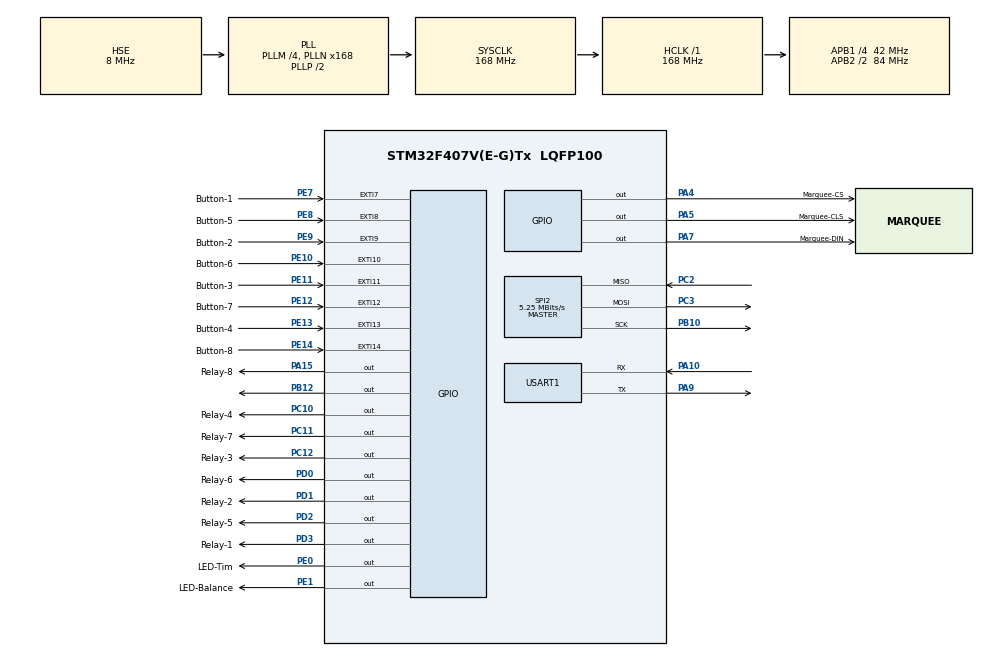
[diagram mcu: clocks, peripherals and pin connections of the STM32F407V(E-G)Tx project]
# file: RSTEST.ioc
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Mcu.Family=STM32F4
Mcu.Name=STM32F407V(E-G)Tx
Mcu.Package=LQFP100
NVIC.EXTI15_10_IRQn=true\:0\:0\:false\:false\:true\:true\:true\:true
NVIC.EXTI9_5_IRQn=true\:0\:0\:false\:false\:true\:true\:true\:true
NVIC.PriorityGroup=NVIC_PRIORITYGROUP_4
NVIC.TIM4_IRQn=true\:0\:0\:false\:false\:true\:true\:true\:true
NVIC.USART1_IRQn=true\:0\:0\:false\:false\:true\:true\:true\:true
PA10.Mode=Multiprocessor_communication
PA10.Signal=USART1_RX
PA15.GPIO_Label=Relay-8
PA15.Signal=GPIO_Output
PA4.GPIO_Label=Marquee-CS
PA4.Signal=GPIO_Output
PA5.GPIO_Label=Marquee-CLS
PA5.Signal=GPIO_Output
PA7.GPIO_Label=Marquee-DIN
PA7.Signal=GPIO_Output
PA9.Mode=Multiprocessor_communication
PA9.Signal=USART1_TX
PB10.Mode=Full_Duplex_Master
PB10.Signal=SPI2_SCK
PB12.Signal=GPIO_Output
PC10.GPIO_Label=Relay-4
PC10.Signal=GPIO_Output
PC11.GPIO_Label=Relay-7
PC11.Signal=GPIO_Output
PC12.GPIO_Label=Relay-3
PC12.Signal=GPIO_Output
PC2.Mode=Full_Duplex_Master
PC2.Signal=SPI2_MISO
PC3.Mode=Full_Duplex_Master
PC3.Signal=SPI2_MOSI
PD0.GPIO_Label=Relay-6
PD0.Signal=GPIO_Output
PD1.GPIO_Label=Relay-2
PD1.Signal=GPIO_Output
PD2.GPIO_Label=Relay-5
PD2.Signal=GPIO_Output
PD3.GPIO_Label=Relay-1
PD3.Signal=GPIO_Output
PE0.GPIO_Label=LED-Tim
PE0.Signal=GPIO_Output
PE1.GPIO_Label=LED-Balance
PE1.Signal=GPIO_Output
PE10.GPIO_Label=Button-6
PE10.GPIO_PuPd=GPIO_PULLUP
PE10.Signal=GPXTI10
PE11.GPIO_Label=Button-3
PE11.GPIO_PuPd=GPIO_PULLUP
PE11.Signal=GPXTI11
PE12.GPIO_Label=Button-7
PE12.GPIO_PuPd=GPIO_PULLUP
PE12.Signal=GPXTI12
PE13.GPIO_Label=Button-4
PE13.GPIO_PuPd=GPIO_PULLUP
PE13.Signal=GPXTI13
PE14.GPIO_Label=Button-8
PE14.GPIO_PuPd=GPIO_PULLUP
PE14.Signal=GPXTI14
PE7.GPIO_Label=Button-1
PE7.GPIO_PuPd=GPIO_PULLUP
PE7.Signal=GPXTI7
PE8.GPIO_Label=Button-5
PE8.GPIO_PuPd=GPIO_PULLUP
PE8.Signal=GPXTI8
PE9.GPIO_Label=Button-2
PE9.GPIO_PuPd=GPIO_PULLUP
PE9.Signal=GPXTI9
PH0-OSC_IN.Mode=HSE-External-Oscillator
PH0-OSC_IN.Signal=RCC_OSC_IN
PH1-OSC_OUT.Mode=HSE-External-Oscillator
PH1-OSC_OUT.Signal=RCC_OSC_OUT
ProjectManager.HeapSize=0x200
ProjectManager.StackSize=0x400
ProjectManager.TargetToolchain=STM32CubeIDE
RCC.48MHZClocksFreq_Value=48000000
RCC.AHBFreq_Value=168000000
RCC.APB1CLKDivider=RCC_HCLK_DIV4
RCC.APB1Freq_Value=42000000
RCC.APB1TimFreq_Value=84000000
RCC.APB2CLKDivider=RCC_HCLK_DIV2
RCC.APB2Freq_Value=84000000
RCC.APB2TimFreq_Value=168000000
RCC.CortexFreq_Value=168000000
RCC.HCLKFreq_Value=168000000
RCC.HSE_VALUE=8000000
RCC.HSI_VALUE=16000000
RCC.LSE_VALUE=32768
RCC.PLLM=4
RCC.PLLN=168
RCC.PLLQ=7
RCC.PLLSourceVirtual=RCC_PLLSOURCE_HSE
RCC.SYSCLKFreq_VALUE=168000000
RCC.SYSCLKSource=RCC_SYSCLKSOURCE_PLLCLK
RCC.VCOOutputFreq_Value=336000000
SPI2.BaudRatePrescaler=SPI_BAUDRATEPRESCALER_8
SPI2.CalculateBaudRate=5.25 MBits/s
SPI2.Direction=SPI_DIRECTION_2LINES
SPI2.Mode=SPI_MODE_MASTER
SPI2.VirtualType=VM_MASTER
TIM4.ClockDivision=TIM_CLOCKDIVISION_DIV1
USART1.VirtualMode=VM_ASYNC
VP_TIM4_VS_ClockSourceINT.Mode=Internal
board=custom

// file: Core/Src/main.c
/* USER CODE BEGIN Header */
/**
  ******************************************************************************
  * @file           : main.c
  * @brief          : Main program body
  ******************************************************************************
  * @attention
  *
  * Copyright (c) 2022 STMicroelectronics.
  * All rights reserved.
  *
  * This software is licensed under terms that can be found in the LICENSE file
  * in the root directory of this software component.
  * If no LICENSE file comes with this software, it is provided AS-IS.
  *
  ******************************************************************************
  */
/* USER CODE END Header */
#include "main.h"

/* USER CODE BEGIN Includes */

#include "max_matrix_stm32.h"
#include "rc522.h"
#include <stdio.h>
#include <string.h>

#define DEVICE_ID "STM32"
#define UART_BUFFER_SIZE 1
#define UART_MESSAGE_SIZE 17

/* USER CODE END Includes */

SPI_HandleTypeDef hspi2;

TIM_HandleTypeDef htim4;

UART_HandleTypeDef huart1;

/* USER CODE BEGIN PV */

uint8_t UART1_rxBuffer[UART_BUFFER_SIZE] = {0};
uint8_t UART1_rxMessageBuffer[UART_MESSAGE_SIZE] = {0};
uint16_t userBalance = 0;
uint16_t userTime = 0;
uint8_t cardPassed = 0;
uint8_t relayStates = 0;
uint8_t lastPressedButton = 0;
uint8_t pressCount = 0;
uint8_t status;
uint8_t sn[4] = {0, 0, 0, 0};
uint8_t	str[MFRC522_MAX_LEN];

/* USER CODE END PV */

void SystemClock_Config(void);
static void MX_GPIO_Init(void);
static void MX_USART1_UART_Init(void);
static void MX_TIM4_Init(void);
static void MX_SPI2_Init(void);
/* USER CODE BEGIN PFP */

void ProcessUARTCommand(char * command);
char * GetSTMuID(void);
void TurnRelayEnabled(uint8_t relayNumber);
void TurnRelayDisabled(uint8_t relayNumber);
void InteractWithRC522(void);

/* USER CODE END PFP */

int main(void)
{

  /* MCU Configuration--------------------------------------------------------*/

  /* Reset of all peripherals, Initializes the Flash interface and the Systick. */
  HAL_Init();

  /* Configure the system clock */
  SystemClock_Config();

  /* Initialize all configured peripherals */
  MX_GPIO_Init();
  MX_USART1_UART_Init();
  MX_TIM4_Init();
  MX_SPI2_Init();
  /* USER CODE BEGIN 2 */

  char SERIAL_MESSAGE[] = "RDY00000000000000";
  char MATRIX_MESSAGE[40] = " 0:00 ";

  HAL_GPIO_WritePin(GPIOE, GPIO_PIN_0, GPIO_PIN_SET);

  HAL_UART_Transmit(&huart1, (uint8_t*)SERIAL_MESSAGE, strlen(SERIAL_MESSAGE), 1000);
  HAL_UART_Receive_IT (&huart1, UART1_rxBuffer, UART_BUFFER_SIZE);

  MFRC522_Init();
  max_init(0x1);

  // Initialize Relays
  HAL_GPIO_WritePin(GPIOD, GPIO_PIN_0|GPIO_PIN_1|GPIO_PIN_2|GPIO_PIN_3, GPIO_PIN_SET);
  HAL_GPIO_WritePin(GPIOC, GPIO_PIN_10|GPIO_PIN_11|GPIO_PIN_12, GPIO_PIN_SET);
  HAL_GPIO_WritePin(GPIOA, GPIO_PIN_15, GPIO_PIN_SET);

  /* USER CODE END 2 */

  /* Infinite loop */
  /* USER CODE BEGIN WHILE */

  uint8_t even = 0;

  while (1)
  {

	  InteractWithRC522();

	  if(sn[0] == 0 && sn[1] == 0 && sn[2] == 0 && sn[3] == 0)
		  cardPassed = 0;
	  else
		  cardPassed = 1;

	  HAL_Delay(2 * 1000);
      HAL_GPIO_TogglePin(GPIOE, GPIO_PIN_0|GPIO_PIN_1);
      if(cardPassed) {
    	  if(even++ % 2 == 0)
    		  snprintf(MATRIX_MESSAGE, sizeof(MATRIX_MESSAGE), " %d:%02d ", userTime / 60, userTime % 60);
		  else
			  snprintf(MATRIX_MESSAGE, sizeof(MATRIX_MESSAGE), " %02d P ", userBalance); //userBalance

//    	  scroll_string((uint8_t*)MATRIX_MESSAGE, 100, left);
      } else {
    	  strcpy(MATRIX_MESSAGE, "BCTABbTE KAPTY      WELCOME!        ");
      }

      scroll_string((uint8_t*)MATRIX_MESSAGE, 25, left);
      lastPressedButton = 0;
      pressCount = 0;

    /* USER CODE END WHILE */

  }
}

void SystemClock_Config(void)
{
  RCC_OscInitTypeDef RCC_OscInitStruct = {0};
  RCC_ClkInitTypeDef RCC_ClkInitStruct = {0};

  /** Configure the main internal regulator output voltage
  */
  __HAL_RCC_PWR_CLK_ENABLE();
  __HAL_PWR_VOLTAGESCALING_CONFIG(PWR_REGULATOR_VOLTAGE_SCALE1);

  /** Initializes the RCC Oscillators according to the specified parameters
  * in the RCC_OscInitTypeDef structure.
  */
  RCC_OscInitStruct.OscillatorType = RCC_OSCILLATORTYPE_HSE;
  RCC_OscInitStruct.HSEState = RCC_HSE_ON;
  RCC_OscInitStruct.PLL.PLLState = RCC_PLL_ON;
  RCC_OscInitStruct.PLL.PLLSource = RCC_PLLSOURCE_HSE;
  RCC_OscInitStruct.PLL.PLLM = 4;
  RCC_OscInitStruct.PLL.PLLN = 168;
  RCC_OscInitStruct.PLL.PLLP = RCC_PLLP_DIV2;
  RCC_OscInitStruct.PLL.PLLQ = 7;
  if (HAL_RCC_OscConfig(&RCC_OscInitStruct) != HAL_OK)
  {
    Error_Handler();
  }

  /** Initializes the CPU, AHB and APB buses clocks
  */
  RCC_ClkInitStruct.ClockType = RCC_CLOCKTYPE_HCLK|RCC_CLOCKTYPE_SYSCLK
                              |RCC_CLOCKTYPE_PCLK1|RCC_CLOCKTYPE_PCLK2;
  RCC_ClkInitStruct.SYSCLKSource = RCC_SYSCLKSOURCE_PLLCLK;
  RCC_ClkInitStruct.AHBCLKDivider = RCC_SYSCLK_DIV1;
  RCC_ClkInitStruct.APB1CLKDivider = RCC_HCLK_DIV4;
  RCC_ClkInitStruct.APB2CLKDivider = RCC_HCLK_DIV2;

  if (HAL_RCC_ClockConfig(&RCC_ClkInitStruct, FLASH_LATENCY_5) != HAL_OK)
  {
    Error_Handler();
  }
}

static void MX_SPI2_Init(void)
{

  /* SPI2 parameter configuration*/
  hspi2.Instance = SPI2;
  hspi2.Init.Mode = SPI_MODE_MASTER;
  hspi2.Init.Direction = SPI_DIRECTION_2LINES;
  hspi2.Init.DataSize = SPI_DATASIZE_8BIT;
  hspi2.Init.CLKPolarity = SPI_POLARITY_LOW;
  hspi2.Init.CLKPhase = SPI_PHASE_1EDGE;
  hspi2.Init.NSS = SPI_NSS_SOFT;
  hspi2.Init.BaudRatePrescaler = SPI_BAUDRATEPRESCALER_8;
  hspi2.Init.FirstBit = SPI_FIRSTBIT_MSB;
  hspi2.Init.TIMode = SPI_TIMODE_DISABLE;
  hspi2.Init.CRCCalculation = SPI_CRCCALCULATION_DISABLE;
  hspi2.Init.CRCPolynomial = 10;
  if (HAL_SPI_Init(&hspi2) != HAL_OK)
  {
    Error_Handler();
  }

}

static void MX_TIM4_Init(void)
{

  TIM_ClockConfigTypeDef sClockSourceConfig = {0};
  TIM_MasterConfigTypeDef sMasterConfig = {0};

  htim4.Instance = TIM4;
  htim4.Init.Prescaler = 0;
  htim4.Init.CounterMode = TIM_COUNTERMODE_UP;
  htim4.Init.Period = 65535;
  htim4.Init.ClockDivision = TIM_CLOCKDIVISION_DIV1;
  htim4.Init.AutoReloadPreload = TIM_AUTORELOAD_PRELOAD_DISABLE;
  if (HAL_TIM_Base_Init(&htim4) != HAL_OK)
  {
    Error_Handler();
  }
  sClockSourceConfig.ClockSource = TIM_CLOCKSOURCE_INTERNAL;
  if (HAL_TIM_ConfigClockSource(&htim4, &sClockSourceConfig) != HAL_OK)
  {
    Error_Handler();
  }
  sMasterConfig.MasterOutputTrigger = TIM_TRGO_RESET;
  sMasterConfig.MasterSlaveMode = TIM_MASTERSLAVEMODE_DISABLE;
  if (HAL_TIMEx_MasterConfigSynchronization(&htim4, &sMasterConfig) != HAL_OK)
  {
    Error_Handler();
  }

}

static void MX_USART1_UART_Init(void)
{

  huart1.Instance = USART1;
  huart1.Init.BaudRate = 115200;
  huart1.Init.WordLength = UART_WORDLENGTH_8B;
  huart1.Init.StopBits = UART_STOPBITS_1;
  huart1.Init.Parity = UART_PARITY_NONE;
  huart1.Init.Mode = UART_MODE_TX_RX;
  huart1.Init.HwFlowCtl = UART_HWCONTROL_NONE;
  huart1.Init.OverSampling = UART_OVERSAMPLING_16;
  if (HAL_MultiProcessor_Init(&huart1, 0, UART_WAKEUPMETHOD_IDLELINE) != HAL_OK)
  {
    Error_Handler();
  }

}

static void MX_GPIO_Init(void)
{
  GPIO_InitTypeDef GPIO_InitStruct = {0};

  /* GPIO Ports Clock Enable */
  __HAL_RCC_GPIOH_CLK_ENABLE();
  __HAL_RCC_GPIOC_CLK_ENABLE();
  __HAL_RCC_GPIOA_CLK_ENABLE();
  __HAL_RCC_GPIOE_CLK_ENABLE();
  __HAL_RCC_GPIOB_CLK_ENABLE();
  __HAL_RCC_GPIOD_CLK_ENABLE();

  /*Configure GPIO pin Output Level */
  HAL_GPIO_WritePin(GPIOA, Marquee_CS_Pin|Marquee_CLS_Pin|Marquee_DIN_Pin|Relay_8_Pin, GPIO_PIN_RESET);

  /*Configure GPIO pin Output Level */
  HAL_GPIO_WritePin(GPIOB, GPIO_PIN_12, GPIO_PIN_RESET);

  /*Configure GPIO pin Output Level */
  HAL_GPIO_WritePin(GPIOC, Relay_4_Pin|Relay_7_Pin|Relay_3_Pin, GPIO_PIN_RESET);

  /*Configure GPIO pin Output Level */
  HAL_GPIO_WritePin(GPIOD, Relay_6_Pin|Relay_2_Pin|Relay_5_Pin|Relay_1_Pin, GPIO_PIN_RESET);

  /*Configure GPIO pin Output Level */
  HAL_GPIO_WritePin(GPIOE, LED_Tim_Pin|LED_Balance_Pin, GPIO_PIN_RESET);

  /*Configure GPIO pins : Marquee_CS_Pin Marquee_CLS_Pin Marquee_DIN_Pin Relay_8_Pin */
  GPIO_InitStruct.Pin = Marquee_CS_Pin|Marquee_CLS_Pin|Marquee_DIN_Pin|Relay_8_Pin;
  GPIO_InitStruct.Mode = GPIO_MODE_OUTPUT_PP;
  GPIO_InitStruct.Pull = GPIO_NOPULL;
  GPIO_InitStruct.Speed = GPIO_SPEED_FREQ_LOW;
  HAL_GPIO_Init(GPIOA, &GPIO_InitStruct);

  /*Configure GPIO pins : Button_1_Pin Button_5_Pin Button_2_Pin Button_6_Pin
                           Button_3_Pin Button_7_Pin Button_4_Pin Button_8_Pin */
  GPIO_InitStruct.Pin = Button_1_Pin|Button_5_Pin|Button_2_Pin|Button_6_Pin
                          |Button_3_Pin|Button_7_Pin|Button_4_Pin|Button_8_Pin;
  GPIO_InitStruct.Mode = GPIO_MODE_IT_RISING;
  GPIO_InitStruct.Pull = GPIO_PULLUP;
  HAL_GPIO_Init(GPIOE, &GPIO_InitStruct);

  /*Configure GPIO pin : PB12 */
  GPIO_InitStruct.Pin = GPIO_PIN_12;
  GPIO_InitStruct.Mode = GPIO_MODE_OUTPUT_PP;
  GPIO_InitStruct.Pull = GPIO_NOPULL;
  GPIO_InitStruct.Speed = GPIO_SPEED_FREQ_LOW;
  HAL_GPIO_Init(GPIOB, &GPIO_InitStruct);

  /*Configure GPIO pins : Relay_4_Pin Relay_7_Pin Relay_3_Pin */
  GPIO_InitStruct.Pin = Relay_4_Pin|Relay_7_Pin|Relay_3_Pin;
  GPIO_InitStruct.Mode = GPIO_MODE_OUTPUT_PP;
  GPIO_InitStruct.Pull = GPIO_NOPULL;
  GPIO_InitStruct.Speed = GPIO_SPEED_FREQ_LOW;
  HAL_GPIO_Init(GPIOC, &GPIO_InitStruct);

  /*Configure GPIO pins : Relay_6_Pin Relay_2_Pin Relay_5_Pin Relay_1_Pin */
  GPIO_InitStruct.Pin = Relay_6_Pin|Relay_2_Pin|Relay_5_Pin|Relay_1_Pin;
  GPIO_InitStruct.Mode = GPIO_MODE_OUTPUT_PP;
  GPIO_InitStruct.Pull = GPIO_NOPULL;
  GPIO_InitStruct.Speed = GPIO_SPEED_FREQ_LOW;
  HAL_GPIO_Init(GPIOD, &GPIO_InitStruct);

  /*Configure GPIO pins : LED_Tim_Pin LED_Balance_Pin */
  GPIO_InitStruct.Pin = LED_Tim_Pin|LED_Balance_Pin;
  GPIO_InitStruct.Mode = GPIO_MODE_OUTPUT_PP;
  GPIO_InitStruct.Pull = GPIO_NOPULL;
  GPIO_InitStruct.Speed = GPIO_SPEED_FREQ_LOW;
  HAL_GPIO_Init(GPIOE, &GPIO_InitStruct);

  /* EXTI interrupt init*/
  HAL_NVIC_SetPriority(EXTI9_5_IRQn, 0, 0);
  HAL_NVIC_EnableIRQ(EXTI9_5_IRQn);

  HAL_NVIC_SetPriority(EXTI15_10_IRQn, 0, 0);
  HAL_NVIC_EnableIRQ(EXTI15_10_IRQn);

}

/* USER CODE BEGIN 4 */

void HAL_UART_RxCpltCallback(UART_HandleTypeDef *huart)
{
	uint8_t DEBUG_MODE = 0;
    if(DEBUG_MODE) HAL_UART_Transmit(&huart1, UART1_rxBuffer, UART_BUFFER_SIZE, 100); //DEBUG LINE DELETE IN PROD

    if(UART1_rxBuffer[0] == 64) { //Service Mode, if sent @ symbol, the buffer will be cleared
    	for (int i=0; i<UART_MESSAGE_SIZE; i++) UART1_rxMessageBuffer[i] = 0;
    	HAL_UART_Receive_IT(&huart1, UART1_rxBuffer, UART_BUFFER_SIZE);
    	return;
    }

    if(strlen(UART1_rxMessageBuffer) == 0) {
    	strcpy(UART1_rxMessageBuffer, UART1_rxBuffer);
    } else {
    	strcat(UART1_rxMessageBuffer, UART1_rxBuffer);
    }

    if(strlen(UART1_rxMessageBuffer) == UART_MESSAGE_SIZE) {
    	if(DEBUG_MODE) 	HAL_UART_Transmit(&huart1, "\r\n", 2, 100); //DEBUG LINE DELETE IN PROD

    	ProcessUARTCommand(UART1_rxMessageBuffer);

		for (int i=0; i<UART_MESSAGE_SIZE; i++) UART1_rxMessageBuffer[i] = 0;
    }

    HAL_UART_Receive_IT(&huart1, UART1_rxBuffer, UART_BUFFER_SIZE);
}

void ProcessUARTCommand(char * command) {
	char * cmd[3] = {0};
	char * arg[14] = {0};
	char response[17] = {0};
	memcpy(cmd, &command[0], 3);
	memcpy(arg, &command[3], 14);
//	HAL_UART_Transmit(&huart1, "Command: ", 9, 100);
//	HAL_UART_Transmit(&huart1, cmd, 10, 100);
//	HAL_UART_Transmit(&huart1, " Length: ", 9, 100);
//	char * len[100];
//	sprintf(len, "%d", strlen(cmd));
//	HAL_UART_Transmit(&huart1, len, strlen(len), 100);
//	HAL_UART_Transmit(&huart1, "\r\n", 2, 100);
//
//	HAL_UART_Transmit(&huart1, "Argument: ", 10, 100);
//	HAL_UART_Transmit(&huart1, arg, 14, 100);
//	HAL_UART_Transmit(&huart1, "\r\n", 2, 100);

	if(strcmp(cmd, "GYN") == 0) { //Give Your Name
		strcpy(response, "DUN");
		char * uid = GetSTMuID();
		sprintf(arg, "%014s", uid);
		free(uid);
		strcat(response, arg);
	} else if(strcmp(cmd, "GCI") == 0) { //Give Card UID
		strcpy(response, "CID");
		sprintf(arg, "NCP%08x%02x%02x%02x", sn[0],sn[1],sn[2],sn[3]);
		strcat(response, arg);
	} else if(strcmp(cmd, "GRS") == 0) { // Get Relay Statuses
		strcpy(response, "RES");
		sprintf(arg, "%014X", relayStates);
		strcat(response, arg);
	} else if(strcmp(cmd, "TRE") == 0) { // Turn Relay Enabled
		strcpy(response, "REO");
		uint8_t state = strtol(arg, NULL, 16);
		TurnRelayEnabled(state);
		strcat(response, arg);
	} else if(strcmp(cmd, "TRD") == 0) { // Turn Relay Disabled
		strcpy(response, "RDO");
		uint8_t state = strtol(arg, NULL, 16);
		TurnRelayDisabled(state);
		strcat(response, arg);
	} else if(strcmp(cmd, "SRS") == 0) { // Switch Relay Status DEPRECATED
		strcpy(response, "RSO");
		sprintf(arg, "000000DEADBEEF");
		strcat(response, arg);
	} else if(strcmp(cmd, "CBV") == 0) { // Change Balance Value
//		HAL_UART_Transmit(&huart1, "Hit CBV\r\n", 9, 100);
		strcpy(response, "VBO");
		uint16_t parsedArgument = strtol(arg, NULL, 16);
		userBalance = (parsedArgument <= 9999) ? parsedArgument : 9999;
		strcat(response, arg);
	} else if(strcmp(cmd, "CTV") == 0) { // Change Time Value
//		HAL_UART_Transmit(&huart1, "Hit CBV\r\n", 9, 100);
		strcpy(response, "VTO");
		uint16_t parsedArgument = strtol(arg, NULL, 16);
		userTime = (parsedArgument <= 3599) ? parsedArgument : 3599;;
		strcat(response, arg);
	} else {
		strcpy(response, "00000000000000000");
	}

	HAL_UART_Transmit(&huart1, response, 17, 100);
//	HAL_UART_Transmit(&huart1, "\r\n", 2, 100); // DEBUG LINE REMOVE IN RELEASE
	return;
}

char * GetSTMuID(void) {
	uint16_t *idBase0 = (uint16_t*)(UID_BASE);
	uint16_t *idBase1 = (uint16_t*)(UID_BASE + 0x02);
//	uint32_t *idBase2 = (uint32_t*)(UID_BASE + 0x04); // sorry, not enough place in proto :(
	uint32_t *idBase3 = (uint32_t*)(UID_BASE + 0x08);
	char * result = malloc(sizeof(char)*16);
	sprintf(result, "%x%x%x", *idBase0, *idBase1, *idBase3);
	return result;
}

void TurnRelayEnabled(uint8_t relayNumber) {
	if((relayNumber & 1) == 1)
		HAL_GPIO_WritePin(GPIOD, GPIO_PIN_3, GPIO_PIN_RESET); // Relay 1
	if((relayNumber & 2) == 2)
		HAL_GPIO_WritePin(GPIOD, GPIO_PIN_1, GPIO_PIN_RESET); // Relay 2
	if((relayNumber & 4) == 4)
		HAL_GPIO_WritePin(GPIOC, GPIO_PIN_12, GPIO_PIN_RESET); // Relay 3
	if((relayNumber & 8) == 8)
		HAL_GPIO_WritePin(GPIOC, GPIO_PIN_10, GPIO_PIN_RESET); // Relay 4
	if((relayNumber & 16) == 16)
		HAL_GPIO_WritePin(GPIOD, GPIO_PIN_2, GPIO_PIN_RESET); // Relay 5
	if((relayNumber & 32) == 32)
		HAL_GPIO_WritePin(GPIOD, GPIO_PIN_0, GPIO_PIN_RESET); // Relay 6
	if((relayNumber & 64) == 64)
		HAL_GPIO_WritePin(GPIOC, GPIO_PIN_11, GPIO_PIN_RESET); // Relay 7
	if((relayNumber & 128) == 128)
		HAL_GPIO_WritePin(GPIOA, GPIO_PIN_15, GPIO_PIN_RESET); // Relay 8

	relayStates |= relayNumber;
}

void TurnRelayDisabled(uint8_t relayNumber) {
	if((relayNumber & 1) == 1)
		HAL_GPIO_WritePin(GPIOD, GPIO_PIN_3, GPIO_PIN_SET); // Relay 1
	if((relayNumber & 2) == 2)
		HAL_GPIO_WritePin(GPIOD, GPIO_PIN_1, GPIO_PIN_SET); // Relay 2
	if((relayNumber & 4) == 4)
		HAL_GPIO_WritePin(GPIOC, GPIO_PIN_12, GPIO_PIN_SET); // Relay 3
	if((relayNumber & 8) == 8)
		HAL_GPIO_WritePin(GPIOC, GPIO_PIN_10, GPIO_PIN_SET); // Relay 4
	if((relayNumber & 16) == 16)
		HAL_GPIO_WritePin(GPIOD, GPIO_PIN_2, GPIO_PIN_SET); // Relay 5
	if((relayNumber & 32) == 32)
		HAL_GPIO_WritePin(GPIOD, GPIO_PIN_0, GPIO_PIN_SET); // Relay 6
	if((relayNumber & 64) == 64)
		HAL_GPIO_WritePin(GPIOC, GPIO_PIN_11, GPIO_PIN_SET); // Relay 7
	if((relayNumber & 128) == 128)
		HAL_GPIO_WritePin(GPIOA, GPIO_PIN_15, GPIO_PIN_SET); // Relay 8

	relayStates ^= (relayStates&relayNumber);
}

void HAL_GPIO_EXTI_Callback( uint16_t GPIO_Pin)
{
	if (pressCount != 1) {
		uint8_t DEBUG_MODE = 0;
		char response[17] = {0};
		if(GPIO_Pin == GPIO_PIN_7 && lastPressedButton != 1) {
			pressCount++;
			lastPressedButton = 1;
			sprintf(response, "ABP00000000000001");
			HAL_UART_Transmit(&huart1, response, 17, 100);
//			if(DEBUG == 1) HAL_UART_Transmit(&huart1, "\r\n", 2, 100); // DEBUG LINE REMOVE IN RELEASE
		} else if(GPIO_Pin == GPIO_PIN_9 && lastPressedButton != 2) {
			pressCount++;
			lastPressedButton = 2;
			sprintf(response, "ABP00000000000002");
			HAL_UART_Transmit(&huart1, response, 17, 100);
//			if(DEBUG == 1) HAL_UART_Transmit(&huart1, "\r\n", 2, 100); // DEBUG LINE REMOVE IN RELEASE
		} else if(GPIO_Pin == GPIO_PIN_11 && lastPressedButton != 3) {
			pressCount++;
			lastPressedButton = 3;
			sprintf(response, "ABP00000000000004");
			HAL_UART_Transmit(&huart1, response, 17, 100);
//			if(DEBUG == 1) HAL_UART_Transmit(&huart1, "\r\n", 2, 100); // DEBUG LINE REMOVE IN RELEASE
		} else if(GPIO_Pin == GPIO_PIN_13 && lastPressedButton != 4) {
			pressCount++;
			lastPressedButton = 4;
			sprintf(response, "ABP00000000000010");
			HAL_UART_Transmit(&huart1, response, 17, 100);
//			if(DEBUG == 1) HAL_UART_Transmit(&huart1, "\r\n", 2, 100); // DEBUG LINE REMOVE IN RELEASE
		} else if(GPIO_Pin == GPIO_PIN_8 && lastPressedButton != 5) {
			pressCount++;
			lastPressedButton = 5;
			sprintf(response, "ABP00000000000020");
			HAL_UART_Transmit(&huart1, response, 17, 100);
//			if(DEBUG == 1) HAL_UART_Transmit(&huart1, "\r\n", 2, 100); // DEBUG LINE REMOVE IN RELEASE
		} else if(GPIO_Pin == GPIO_PIN_10 && lastPressedButton != 6) {
			pressCount++;
			lastPressedButton = 6;
			sprintf(response, "ABP00000000000040");
			HAL_UART_Transmit(&huart1, response, 17, 100);
//			if(DEBUG == 1) HAL_UART_Transmit(&huart1, "\r\n", 2, 100); // DEBUG LINE REMOVE IN RELEASE
		} else if(GPIO_Pin == GPIO_PIN_12 && lastPressedButton != 7) {
			pressCount++;
			lastPressedButton = 7;
			sprintf(response, "ABP00000000000080");
			HAL_UART_Transmit(&huart1, response, 17, 100);
//			if(DEBUG == 1) HAL_UART_Transmit(&huart1, "\r\n", 2, 100); // DEBUG LINE REMOVE IN RELEASE
		} else if(GPIO_Pin == GPIO_PIN_14 && lastPressedButton != 8) {
			pressCount++;
			lastPressedButton = 8;
			sprintf(response, "ABP00000000000100");
			HAL_UART_Transmit(&huart1, response, 17, 100);
//			if(DEBUG == 1) HAL_UART_Transmit(&huart1, "\r\n", 2, 100); // DEBUG LINE REMOVE IN RELEASE
		} else {
			//Do not do anything when else.
//			__NOP();
			return;
		}
	}
}

int cardPresented = 0;

void InteractWithRC522(void) {
	char buff[17];
	MFRC522_Init();

	HAL_Delay(20);

	status = MI_ERR;

	status = MFRC522_Request(PICC_REQIDL, str);

	status = MFRC522_Anticoll(sn);
	MFRC522_Halt();
	MFRC522_AntennaOff();
	if (status == MI_OK) {
		if(cardPresented++ == 0) {
			sprintf(buff, "NCP%08x%02x%02x%02x", sn[0],sn[1],sn[2],sn[3]);
			HAL_UART_Transmit(&huart1, buff, 17, 100);
		}
	}
	else {
		if(sn[0] != 0 && sn[1] != 0 && sn[2] != 0 && sn[3] != 0) {
			sprintf(buff, "WCL%08x%02x%02x%02x", sn[0],sn[1],sn[2],sn[3]);
			HAL_UART_Transmit(&huart1, buff, 17, 100);
		}
		cardPresented = 0;
	  sn[0] = 0;
	  sn[1] = 0;
	  sn[2] = 0;
	  sn[3] = 0;
	}

	MFRC522_Halt();
	MFRC522_AntennaOff();
}

/* USER CODE END 4 */

void Error_Handler(void)
{
  __disable_irq();
  while (1)
  {
  }
}
